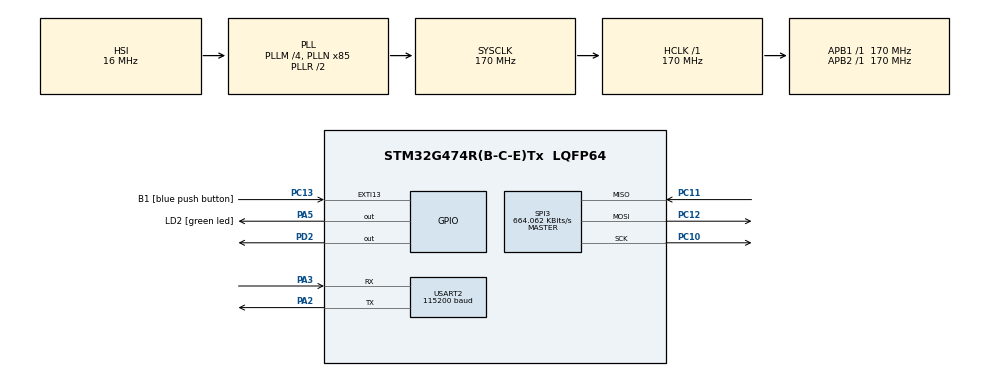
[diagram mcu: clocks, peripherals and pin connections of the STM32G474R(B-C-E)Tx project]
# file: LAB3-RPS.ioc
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Dma.Request0=USART2_RX
Dma.Request1=USART2_TX
Dma.USART2_RX.0.Direction=DMA_PERIPH_TO_MEMORY
Dma.USART2_RX.0.EventEnable=DISABLE
Dma.USART2_RX.0.Instance=DMA1_Channel1
Dma.USART2_RX.0.MemDataAlignment=DMA_MDATAALIGN_BYTE
Dma.USART2_RX.0.MemInc=DMA_MINC_ENABLE
Dma.USART2_RX.0.Mode=DMA_CIRCULAR
Dma.USART2_RX.0.PeriphDataAlignment=DMA_PDATAALIGN_BYTE
Dma.USART2_RX.0.PeriphInc=DMA_PINC_DISABLE
Dma.USART2_RX.0.Polarity=HAL_DMAMUX_REQ_GEN_RISING
Dma.USART2_RX.0.Priority=DMA_PRIORITY_LOW
Dma.USART2_RX.0.RequestNumber=1
Dma.USART2_RX.0.SignalID=NONE
Dma.USART2_RX.0.SyncEnable=DISABLE
Dma.USART2_RX.0.SyncPolarity=HAL_DMAMUX_SYNC_NO_EVENT
Dma.USART2_RX.0.SyncRequestNumber=1
Dma.USART2_RX.0.SyncSignalID=NONE
Dma.USART2_TX.1.Direction=DMA_MEMORY_TO_PERIPH
Dma.USART2_TX.1.EventEnable=DISABLE
Dma.USART2_TX.1.Instance=DMA1_Channel2
Dma.USART2_TX.1.MemDataAlignment=DMA_MDATAALIGN_BYTE
Dma.USART2_TX.1.MemInc=DMA_MINC_ENABLE
Dma.USART2_TX.1.Mode=DMA_NORMAL
Dma.USART2_TX.1.PeriphDataAlignment=DMA_PDATAALIGN_BYTE
Dma.USART2_TX.1.PeriphInc=DMA_PINC_DISABLE
Dma.USART2_TX.1.Polarity=HAL_DMAMUX_REQ_GEN_RISING
Dma.USART2_TX.1.Priority=DMA_PRIORITY_LOW
Dma.USART2_TX.1.RequestNumber=1
Dma.USART2_TX.1.SignalID=NONE
Dma.USART2_TX.1.SyncEnable=DISABLE
Dma.USART2_TX.1.SyncPolarity=HAL_DMAMUX_SYNC_NO_EVENT
Dma.USART2_TX.1.SyncRequestNumber=1
Dma.USART2_TX.1.SyncSignalID=NONE
Mcu.Family=STM32G4
Mcu.Name=STM32G474R(B-C-E)Tx
Mcu.Package=LQFP64
NVIC.DMA1_Channel1_IRQn=true\:0\:0\:false\:false\:true\:false\:true\:true
NVIC.DMA1_Channel2_IRQn=true\:0\:0\:false\:false\:true\:false\:true\:true
NVIC.EXTI15_10_IRQn=true\:0\:0\:false\:false\:true\:true\:true\:true
NVIC.PriorityGroup=NVIC_PRIORITYGROUP_4
NVIC.SPI3_IRQn=true\:0\:0\:false\:false\:true\:true\:true\:true
NVIC.USART2_IRQn=true\:0\:0\:false\:false\:true\:true\:true\:true
PA13.GPIO_Label=T_SWDIO
PA13.Mode=Serial_Wire
PA13.Signal=SYS_JTMS-SWDIO
PA14.GPIO_Label=T_SWCLK
PA14.Mode=Serial_Wire
PA14.Signal=SYS_JTCK-SWCLK
PA2.Mode=Asynchronous
PA2.Signal=USART2_TX
PA3.Mode=Asynchronous
PA3.Signal=USART2_RX
PA5.GPIO_Label=LD2 [green led]
PA5.Signal=GPIO_Output
PB3.GPIO_Label=T_SWO
PB3.Signal=SYS_JTDO-SWO
PC10.Mode=Full_Duplex_Master
PC10.Signal=SPI3_SCK
PC11.Mode=Full_Duplex_Master
PC11.Signal=SPI3_MISO
PC12.Mode=Full_Duplex_Master
PC12.Signal=SPI3_MOSI
PC13.GPIO_Label=B1 [blue push button]
PC13.Signal=GPXTI13
PC14-OSC32_IN.Mode=LSE-External-Oscillator
PC14-OSC32_IN.Signal=RCC_OSC32_IN
PC15-OSC32_OUT.Mode=LSE-External-Oscillator
PC15-OSC32_OUT.Signal=RCC_OSC32_OUT
PD2.PinState=GPIO_PIN_SET
PD2.Signal=GPIO_Output
PF0-OSC_IN.Mode=HSE-External-Oscillator
PF0-OSC_IN.Signal=RCC_OSC_IN
PF1-OSC_OUT.Mode=HSE-External-Oscillator
PF1-OSC_OUT.Signal=RCC_OSC_OUT
ProjectManager.HeapSize=0x200
ProjectManager.StackSize=0x400
ProjectManager.TargetToolchain=STM32CubeIDE
RCC.ADC12Freq_Value=170000000
RCC.ADC345Freq_Value=170000000
RCC.AHBFreq_Value=170000000
RCC.APB1Freq_Value=170000000
RCC.APB1TimFreq_Value=170000000
RCC.APB2Freq_Value=170000000
RCC.APB2TimFreq_Value=170000000
RCC.CortexFreq_Value=170000000
RCC.EXTERNAL_CLOCK_VALUE=12288000
RCC.HCLKFreq_Value=170000000
RCC.HSE_VALUE=24000000
RCC.HSI48_VALUE=48000000
RCC.HSI_VALUE=16000000
RCC.PLLM=RCC_PLLM_DIV4
RCC.PLLN=85
RCC.RTCClockSelection=RCC_RTCCLKSOURCE_LSE
RCC.SYSCLKFreq_VALUE=170000000
RCC.SYSCLKSource=RCC_SYSCLKSOURCE_PLLCLK
RCC.USBFreq_Value=170000000
RCC.VCOOutputFreq_Value=340000000
SPI3.BaudRatePrescaler=SPI_BAUDRATEPRESCALER_256
SPI3.CLKPhase=SPI_PHASE_1EDGE
SPI3.CLKPolarity=SPI_POLARITY_LOW
SPI3.CalculateBaudRate=664.062 KBits/s
SPI3.DataSize=SPI_DATASIZE_8BIT
SPI3.Direction=SPI_DIRECTION_2LINES
SPI3.Mode=SPI_MODE_MASTER
SPI3.VirtualType=VM_MASTER
USART2.BaudRate=115200
USART2.Parity=PARITY_NONE
USART2.StopBits=STOPBITS_2
USART2.VirtualMode-Asynchronous=VM_ASYNC
USART2.WordLength=WORDLENGTH_8B
VP_SYS_VS_DBSignals.Mode=DisableDeadBatterySignals
board=NUCLEO-G474RE

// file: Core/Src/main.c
/* USER CODE BEGIN Header */
/**
  ******************************************************************************
  * @file           : main.c
  * @brief          : Main program body
  ******************************************************************************
  * @attention
  *
  * Copyright (c) 2024 STMicroelectronics.
  * All rights reserved.
  *
  * This software is licensed under terms that can be found in the LICENSE file
  * in the root directory of this software component.
  * If no LICENSE file comes with this software, it is provided AS-IS.
  *
  ******************************************************************************
  */
/* USER CODE END Header */
#include "main.h"

SPI_HandleTypeDef hspi3;

UART_HandleTypeDef huart2;
DMA_HandleTypeDef hdma_usart2_rx;
DMA_HandleTypeDef hdma_usart2_tx;

/* USER CODE BEGIN PV */

uint8_t SPIRx[10];
uint8_t SPITx[10];
uint8_t STATE;
uint8_t PLAYER;
uint8_t MATLAB;

uint8_t RxBuffer[3] = {0,0,0};
uint8_t TxBuffer[4] = {0,0,0,0};
uint32_t PLAYER_SCORE = 0;
uint32_t MATLAB_SCORE = 0;

enum stateEnum
{
	IDLE,WORK,FINISH
}STATE_ENUM;

enum RSP
{
	NONE,ROCK,SCISSOR,PAPER
};

/* USER CODE END PV */

void SystemClock_Config(void);
static void MX_GPIO_Init(void);
static void MX_DMA_Init(void);
static void MX_SPI3_Init(void);
static void MX_USART2_UART_Init(void);
/* USER CODE BEGIN PFP */
void UARTConfig();
void SPITxRx_RSP();
void UARTTxRoutine();
void SPITxRx_Setup();

/* USER CODE END PFP */

int main(void)
{

  /* MCU Configuration--------------------------------------------------------*/

  /* Reset of all peripherals, Initializes the Flash interface and the Systick. */
  HAL_Init();

  /* Configure the system clock */
  SystemClock_Config();

  /* Initialize all configured peripherals */
  MX_GPIO_Init();
  MX_DMA_Init();
  MX_SPI3_Init();
  MX_USART2_UART_Init();
  /* USER CODE BEGIN 2 */

//  STATE = IDLE;
  UARTConfig();
  SPITxRx_Setup();

  TxBuffer[0] = 69;
  TxBuffer[3] = 10;

  /* USER CODE END 2 */

  /* Infinite loop */
  while (1)
  {

    /* USER CODE BEGIN 3 */
	  SPITxRx_RSP();
	  UARTTxRoutine();
	  MATLAB = RxBuffer[1];
	  if(STATE == WORK)
	  {
		  /* Matlab get score */
		  if(MATLAB == 1 && PLAYER ==2) {MATLAB_SCORE +=1; STATE = FINISH;}
		  else if(MATLAB == 2 && PLAYER ==3) {MATLAB_SCORE +=1; STATE = FINISH;}
		  else if(MATLAB == 3 && PLAYER ==1) {MATLAB_SCORE +=1; STATE = FINISH;}

		  /* STM get score */
		  else if(MATLAB == 2 && PLAYER ==1) {PLAYER_SCORE +=1; STATE = FINISH;}
		  else if(MATLAB == 3 && PLAYER ==2) {PLAYER_SCORE +=1; STATE = FINISH;}
		  else if(MATLAB == 1 && PLAYER ==3) {PLAYER_SCORE +=1; STATE = FINISH;}

	  }

  }
  /* USER CODE END 3 */
}

void SystemClock_Config(void)
{
  RCC_OscInitTypeDef RCC_OscInitStruct = {0};
  RCC_ClkInitTypeDef RCC_ClkInitStruct = {0};

  /** Configure the main internal regulator output voltage
  */
  HAL_PWREx_ControlVoltageScaling(PWR_REGULATOR_VOLTAGE_SCALE1_BOOST);

  /** Initializes the RCC Oscillators according to the specified parameters
  * in the RCC_OscInitTypeDef structure.
  */
  RCC_OscInitStruct.OscillatorType = RCC_OSCILLATORTYPE_HSI;
  RCC_OscInitStruct.HSIState = RCC_HSI_ON;
  RCC_OscInitStruct.HSICalibrationValue = RCC_HSICALIBRATION_DEFAULT;
  RCC_OscInitStruct.PLL.PLLState = RCC_PLL_ON;
  RCC_OscInitStruct.PLL.PLLSource = RCC_PLLSOURCE_HSI;
  RCC_OscInitStruct.PLL.PLLM = RCC_PLLM_DIV4;
  RCC_OscInitStruct.PLL.PLLN = 85;
  RCC_OscInitStruct.PLL.PLLP = RCC_PLLP_DIV2;
  RCC_OscInitStruct.PLL.PLLQ = RCC_PLLQ_DIV2;
  RCC_OscInitStruct.PLL.PLLR = RCC_PLLR_DIV2;
  if (HAL_RCC_OscConfig(&RCC_OscInitStruct) != HAL_OK)
  {
    Error_Handler();
  }

  /** Initializes the CPU, AHB and APB buses clocks
  */
  RCC_ClkInitStruct.ClockType = RCC_CLOCKTYPE_HCLK|RCC_CLOCKTYPE_SYSCLK
                              |RCC_CLOCKTYPE_PCLK1|RCC_CLOCKTYPE_PCLK2;
  RCC_ClkInitStruct.SYSCLKSource = RCC_SYSCLKSOURCE_PLLCLK;
  RCC_ClkInitStruct.AHBCLKDivider = RCC_SYSCLK_DIV1;
  RCC_ClkInitStruct.APB1CLKDivider = RCC_HCLK_DIV1;
  RCC_ClkInitStruct.APB2CLKDivider = RCC_HCLK_DIV1;

  if (HAL_RCC_ClockConfig(&RCC_ClkInitStruct, FLASH_LATENCY_4) != HAL_OK)
  {
    Error_Handler();
  }
}

static void MX_SPI3_Init(void)
{

  /* SPI3 parameter configuration*/
  hspi3.Instance = SPI3;
  hspi3.Init.Mode = SPI_MODE_MASTER;
  hspi3.Init.Direction = SPI_DIRECTION_2LINES;
  hspi3.Init.DataSize = SPI_DATASIZE_8BIT;
  hspi3.Init.CLKPolarity = SPI_POLARITY_LOW;
  hspi3.Init.CLKPhase = SPI_PHASE_1EDGE;
  hspi3.Init.NSS = SPI_NSS_SOFT;
  hspi3.Init.BaudRatePrescaler = SPI_BAUDRATEPRESCALER_256;
  hspi3.Init.FirstBit = SPI_FIRSTBIT_MSB;
  hspi3.Init.TIMode = SPI_TIMODE_DISABLE;
  hspi3.Init.CRCCalculation = SPI_CRCCALCULATION_DISABLE;
  hspi3.Init.CRCPolynomial = 7;
  hspi3.Init.CRCLength = SPI_CRC_LENGTH_DATASIZE;
  hspi3.Init.NSSPMode = SPI_NSS_PULSE_ENABLE;
  if (HAL_SPI_Init(&hspi3) != HAL_OK)
  {
    Error_Handler();
  }

}

static void MX_USART2_UART_Init(void)
{

  huart2.Instance = USART2;
  huart2.Init.BaudRate = 115200;
  huart2.Init.WordLength = UART_WORDLENGTH_8B;
  huart2.Init.StopBits = UART_STOPBITS_2;
  huart2.Init.Parity = UART_PARITY_NONE;
  huart2.Init.Mode = UART_MODE_TX_RX;
  huart2.Init.HwFlowCtl = UART_HWCONTROL_NONE;
  huart2.Init.OverSampling = UART_OVERSAMPLING_16;
  huart2.Init.OneBitSampling = UART_ONE_BIT_SAMPLE_DISABLE;
  huart2.Init.ClockPrescaler = UART_PRESCALER_DIV1;
  huart2.AdvancedInit.AdvFeatureInit = UART_ADVFEATURE_NO_INIT;
  if (HAL_UART_Init(&huart2) != HAL_OK)
  {
    Error_Handler();
  }
  if (HAL_UARTEx_SetTxFifoThreshold(&huart2, UART_TXFIFO_THRESHOLD_1_8) != HAL_OK)
  {
    Error_Handler();
  }
  if (HAL_UARTEx_SetRxFifoThreshold(&huart2, UART_RXFIFO_THRESHOLD_1_8) != HAL_OK)
  {
    Error_Handler();
  }
  if (HAL_UARTEx_DisableFifoMode(&huart2) != HAL_OK)
  {
    Error_Handler();
  }

}

static void MX_DMA_Init(void)
{

  /* DMA controller clock enable */
  __HAL_RCC_DMAMUX1_CLK_ENABLE();
  __HAL_RCC_DMA1_CLK_ENABLE();

  /* DMA interrupt init */
  /* DMA1_Channel1_IRQn interrupt configuration */
  HAL_NVIC_SetPriority(DMA1_Channel1_IRQn, 0, 0);
  HAL_NVIC_EnableIRQ(DMA1_Channel1_IRQn);
  /* DMA1_Channel2_IRQn interrupt configuration */
  HAL_NVIC_SetPriority(DMA1_Channel2_IRQn, 0, 0);
  HAL_NVIC_EnableIRQ(DMA1_Channel2_IRQn);

}

static void MX_GPIO_Init(void)
{
  GPIO_InitTypeDef GPIO_InitStruct = {0};

  /* GPIO Ports Clock Enable */
  __HAL_RCC_GPIOC_CLK_ENABLE();
  __HAL_RCC_GPIOF_CLK_ENABLE();
  __HAL_RCC_GPIOA_CLK_ENABLE();
  __HAL_RCC_GPIOD_CLK_ENABLE();
  __HAL_RCC_GPIOB_CLK_ENABLE();

  /*Configure GPIO pin Output Level */
  HAL_GPIO_WritePin(LD2_GPIO_Port, LD2_Pin, GPIO_PIN_RESET);

  /*Configure GPIO pin Output Level */
  HAL_GPIO_WritePin(GPIOD, GPIO_PIN_2, GPIO_PIN_SET);

  /*Configure GPIO pin : B1_Pin */
  GPIO_InitStruct.Pin = B1_Pin;
  GPIO_InitStruct.Mode = GPIO_MODE_IT_RISING;
  GPIO_InitStruct.Pull = GPIO_NOPULL;
  HAL_GPIO_Init(B1_GPIO_Port, &GPIO_InitStruct);

  /*Configure GPIO pin : LD2_Pin */
  GPIO_InitStruct.Pin = LD2_Pin;
  GPIO_InitStruct.Mode = GPIO_MODE_OUTPUT_PP;
  GPIO_InitStruct.Pull = GPIO_NOPULL;
  GPIO_InitStruct.Speed = GPIO_SPEED_FREQ_LOW;
  HAL_GPIO_Init(LD2_GPIO_Port, &GPIO_InitStruct);

  /*Configure GPIO pin : PD2 */
  GPIO_InitStruct.Pin = GPIO_PIN_2;
  GPIO_InitStruct.Mode = GPIO_MODE_OUTPUT_PP;
  GPIO_InitStruct.Pull = GPIO_NOPULL;
  GPIO_InitStruct.Speed = GPIO_SPEED_FREQ_LOW;
  HAL_GPIO_Init(GPIOD, &GPIO_InitStruct);

  /* EXTI interrupt init*/
  HAL_NVIC_SetPriority(EXTI15_10_IRQn, 0, 0);
  HAL_NVIC_EnableIRQ(EXTI15_10_IRQn);

}

/* USER CODE BEGIN 4 */

void SPITxRx_Setup() {
//CS pulse
	HAL_GPIO_WritePin(GPIOD, GPIO_PIN_2, 0); // CS Select
	HAL_Delay(1);
	HAL_GPIO_WritePin(GPIOD, GPIO_PIN_2, 1); // CS deSelect
	HAL_Delay(1);
}
void SPITxRx_readIO() {
	if (HAL_GPIO_ReadPin(GPIOD, GPIO_PIN_2)) {
		HAL_GPIO_WritePin(GPIOD, GPIO_PIN_2, 0); // CS Select
		SPITx[0] = 0b01000001;
		SPITx[1] = 0x12;
		SPITx[2] = 0;
		SPITx[3] = 0;
		HAL_SPI_TransmitReceive_IT(&hspi3, SPITx, SPIRx, 4);
	}
}

void SPITxRx_WriteIO() {
	if (HAL_GPIO_ReadPin(GPIOD, GPIO_PIN_2)) {
		HAL_GPIO_WritePin(GPIOD, GPIO_PIN_2, 0); // CS Select
		SPITx[0] = 0b01000000;
		SPITx[1] = 0x01;
		SPITx[2] = 0;
		HAL_SPI_TransmitReceive_IT(&hspi3, SPITx, SPIRx, 3);
	}
}

void SPITxRx_RSP()
{
	SPITxRx_readIO();
	if(STATE == IDLE)
	{
		if(SPIRx[2] == 14)
		{
			PLAYER = ROCK;
			STATE = WORK;
		}
		else if(SPIRx[2] == 13)
		{
			PLAYER = SCISSOR;
			STATE = WORK;
		}
		else if(SPIRx[2] == 11)
		{
			PLAYER = PAPER;
			STATE = WORK;
		}
	}
	else if(STATE == WORK)
	{
		if(SPIRx[2] == 7)
		{
			PLAYER = NONE;
			STATE = FINISH;
		}
	}
	else if(STATE == FINISH)
	{
		if(SPIRx[2] == 7) STATE = IDLE;
	}
}

void UARTConfig()
{
	HAL_UART_Receive_DMA(&huart2, RxBuffer, 3);
}

void UARTTxRoutine()
{
	static uint64_t timestamp = 0;
	if(HAL_GetTick() >= timestamp)
	{
		timestamp = HAL_GetTick() + 5;
		/* Transmit Task */
		TxBuffer[1] = PLAYER_SCORE;
		TxBuffer[2] = MATLAB_SCORE;

		HAL_UART_Transmit_DMA(&huart2, TxBuffer, 4);
	}
}

void HAL_SPI_TxRxCpltCallback(SPI_HandleTypeDef *hspi) {
	HAL_GPIO_WritePin(GPIOD, GPIO_PIN_2, 1); //CS dnSelect
}

void HAL_UART_RxCpltCallback(UART_HandleTypeDef *uart) {

}

/* USER CODE END 4 */

void Error_Handler(void)
{
  __disable_irq();
  while (1)
  {
  }
}
